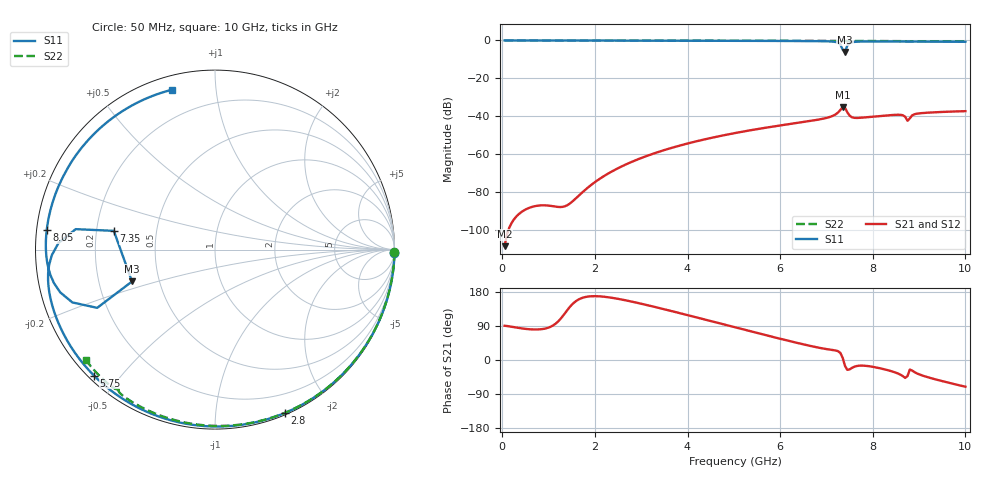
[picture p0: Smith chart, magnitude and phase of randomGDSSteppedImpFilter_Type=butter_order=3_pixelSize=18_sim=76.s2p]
! freq	dB(S11)	phase(S11)	dB(S12)	phase(S12)
!  dB(S21)	phase(S21)	dB(S22)	phase(S22)
!S-par simulation data
#  GHz  S  DB  R 50
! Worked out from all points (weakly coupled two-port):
!   200 points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, 50 MHz to 10 GHz, reference 50 ohm
!   highest |S21| = -35.12 dB at 7.35 GHz (marker M1); lowest = -108.4 dB at 50 MHz (marker M2)
!   lowest |S11| = -6.1 dB at 7.4 GHz (marker M3), VSWR 2.96, Z = 17.4 - j8.19 ohm
!   |S11| at or under -10 dB: nowhere
!   |S22| runs from -0.6 to 0.0 dB; largest |S21 - S12| = 0
!   S11 on the Smith chart (normalised r, x): 50 MHz: 0, -93; 2.8 GHz: 0.02, -1.51; 5.75 GHz: 0.02, -0.43; 7.35 GHz: 0.27, +0.09; 8.05 GHz: 0.03, +0.06; 10 GHz: 0.06, +0.77
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0.05  -0.00 -1.2  -108.39 90.3  -108.39 90.3  -0.00 -0.8
0.85  -0.02 -20.8  -86.87 81.4  -86.87 81.4  -0.02 -13.7
1.75  -0.05 -42.4  -79.57 164.8  -79.57 164.8  -0.04 -27.9
2.2  -0.07 -53.0  -71.38 166.9  -71.38 166.9  -0.04 -34.9
2.8  -0.09 -66.9  -63.91 154.0  -63.91 154.0  -0.06 -44.1
3.4  -0.11 -80.6  -58.51 136.9  -58.51 136.9  -0.07 -53.1
4.2  -0.14 -98.7  -53.09 112.2  -53.09 112.2  -0.09 -64.8
5.05  -0.19 -117.8  -48.68 85.5  -48.68 85.5  -0.12 -76.7
5.75  -0.24 -133.9  -45.73 63.7  -45.73 63.7  -0.15 -86.2
6.7  -0.34 -157.9  -42.22 35.8  -42.22 35.8  -0.19 -98.7
7.2  -0.82 -178.0  -38.91 25.1  -38.91 25.1  -0.22 -105.2
7.3  -2.11 171.6  -36.61 18.6  -36.61 18.6  -0.23 -106.4
7.35  -4.83 169.5  -35.12 5.9  -35.12 5.9  -0.23 -107.1
7.4  -6.10 -159.0  -35.45 -15.5  -35.45 -15.5  -0.23 -107.7
7.45  -2.71 -153.7  -37.83 -26.0  -37.83 -26.0  -0.24 -108.3
7.55  -0.97 -164.5  -40.46 -20.9  -40.46 -20.9  -0.24 -109.6
8.05  -0.50 173.3  -40.01 -19.1  -40.01 -19.1  -0.28 -115.9
8.35  -0.52 163.6  -39.38 -27.7  -39.38 -27.7  -0.31 -119.7
8.65  -0.55 153.9  -39.40 -42.6  -39.40 -42.6  -0.38 -123.9
8.75  -0.56 150.6  -42.31 -42.4  -42.31 -42.4  -0.58 -124.8
8.95  -0.58 143.8  -38.60 -35.2  -38.60 -35.2  -0.39 -126.3
10  -0.70 104.9  -37.26 -70.5  -37.26 -70.5  -0.47 -139.5
